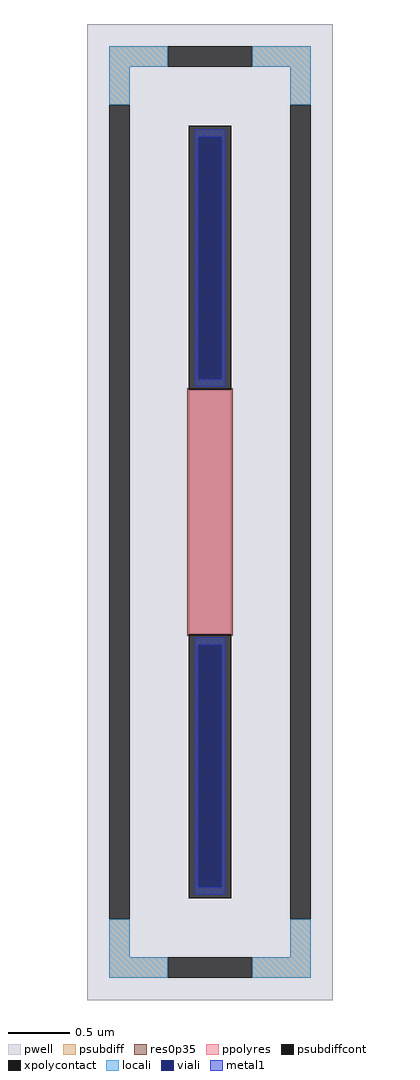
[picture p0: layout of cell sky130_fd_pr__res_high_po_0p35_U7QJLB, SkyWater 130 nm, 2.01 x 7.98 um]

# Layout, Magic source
magic
tech sky130A
magscale 1 2
<< pwell >>
rect -201 -798 201 798
<< psubdiff >>
rect -165 728 -69 762
rect 69 728 165 762
rect -165 666 -131 728
rect 131 666 165 728
rect -165 -728 -131 -666
rect 131 -728 165 -666
rect -165 -762 -69 -728
rect 69 -762 165 -728
<< psubdiffcont >>
rect -69 728 69 762
rect -165 -666 -131 666
rect 131 -666 165 666
rect -69 -762 69 -728
<< xpolycontact >>
rect -35 200 35 632
rect -35 -632 35 -200
<< ppolyres >>
rect -35 -200 35 200
<< locali >>
rect -165 728 -69 762
rect 69 728 165 762
rect -165 666 -131 728
rect 131 666 165 728
rect -165 -728 -131 -666
rect 131 -728 165 -666
rect -165 -762 -69 -728
rect 69 -762 165 -728
<< viali >>
rect -19 217 19 614
rect -19 -614 19 -217
<< metal1 >>
rect -25 614 25 626
rect -25 217 -19 614
rect 19 217 25 614
rect -25 205 25 217
rect -25 -217 25 -205
rect -25 -614 -19 -217
rect 19 -614 25 -217
rect -25 -626 25 -614
<< res0p35 >>
rect -37 -202 37 202
<< properties >>
string FIXED_BBOX -148 -745 148 745
string gencell sky130_fd_pr__res_high_po_0p35
string library sky130
string parameters w 0.350 l 2 m 1 nx 1 wmin 0.350 lmin 0.50 rho 319.8 val 2.94k dummy 0 dw 0.0 term 194.82 sterm 0.0 caplen 0 guard 1 glc 1 grc 1 gtc 1 gbc 1 compatible {sky130_fd_pr__res_high_po_0p35  sky130_fd_pr__res_high_po_0p69 sky130_fd_pr__res_high_po_1p41  sky130_fd_pr__res_high_po_2p85 sky130_fd_pr__res_high_po_5p73} snake 0 full_metal 1 wmax 0.350 vias 1 n_guard 0 hv_guard 0 viagb 0 viagt 0 viagl 0 viagr 0
<< end >>
